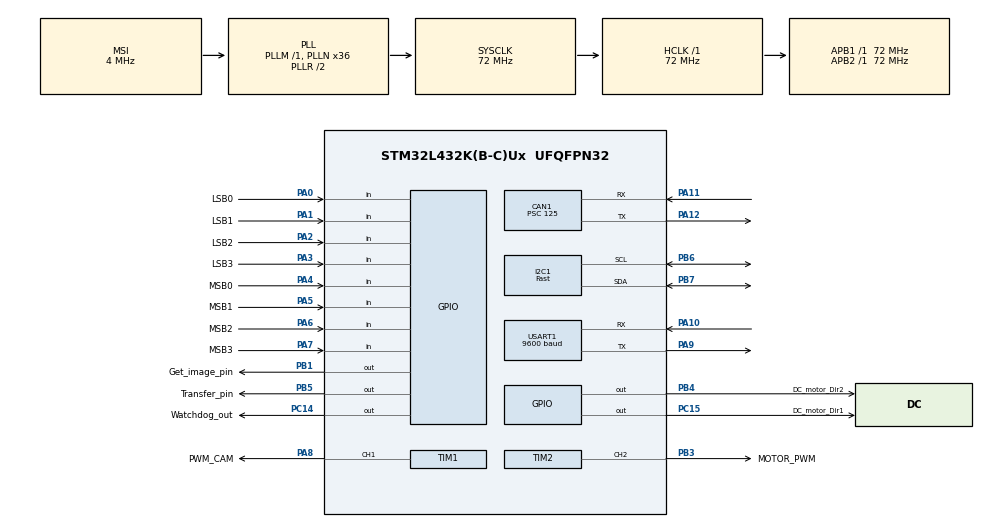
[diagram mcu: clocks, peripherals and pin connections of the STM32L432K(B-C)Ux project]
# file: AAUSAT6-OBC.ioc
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Mcu.Family=STM32L4
CAN1.NART=ENABLE
TIM15.AutoReloadPreload=TIM_AUTORELOAD_PRELOAD_ENABLE
RCC.CortexFreq_Value=72000000
NVIC.DMA1_Channel5_IRQn=true\:5\:0\:true\:false\:true\:true\:false\:true
I2C1.I2C_Speed_Mode=I2C_Fast
NVIC.TIM6_DAC_IRQn=true\:5\:0\:true\:false\:true\:true\:true\:true
USART1.BaudRate=9600
PA0.GPIO_Label=LSB0
PA11.Mode=CAN_Activate
PA6.GPIO_Label=MSB2
FREERTOS.configTICK_RATE_HZ=909
TIM1.Pulse-PWM\ Generation1\ CH1=3000
TIM2.Channel-PWM\ Generation2\ CH2=TIM_CHANNEL_2
Dma.TIM1_CH3.1.PeriphDataAlignment=DMA_PDATAALIGN_BYTE
RCC.SYSCLKSource=RCC_SYSCLKSOURCE_PLLCLK
ProjectManager.StackSize=0x400
PB3\ (JTDO-TRACESWO).Signal=S_TIM2_CH2
VP_FREERTOS_VS_CMSIS_V2.Mode=CMSIS_V2
PA14\ (JTCK-SWCLK).Signal=SYS_JTCK-SWCLK
Dma.TIM1_CH3.1.Instance=DMA1_Channel7
PA12.Signal=CAN1_TX
TIM1.Prescaler=1-1
TIM15.Prescaler=72
NVIC.CAN1_TX_IRQn=true\:5\:0\:true\:false\:true\:true\:true\:true
PB1.GPIO_PuPd=GPIO_PULLDOWN
RCC.HCLKFreq_Value=72000000
RCC.APB2TimFreq_Value=72000000
PB6.Signal=I2C1_SCL
Dma.TIM1_CH3.1.Mode=DMA_NORMAL
PB6.Mode=I2C
RCC.AHBFreq_Value=72000000
Dma.USART1_RX.0.Priority=DMA_PRIORITY_LOW
FREERTOS.configUSE_PREEMPTION=1
RCC.HSE_VALUE=8000000
RCC.PLLMUL=RCC_PLLMUL_4
TIM1.Channel-PWM\ Generation1\ CH1=TIM_CHANNEL_1
PB1.GPIO_Label=Get_image_pin
PB7.Signal=I2C1_SDA
PA8.Signal=S_TIM1_CH1
TIM15.Channel-Output\ Compare1\ No\ Output=TIM_CHANNEL_1
TIM6.Period=7200-1
Dma.USART1_RX.0.MemInc=DMA_MINC_ENABLE
VP_TIM1_VS_ClockSourceINT.Mode=Internal
FREERTOS.configTOTAL_HEAP_SIZE=20000
PA0.Signal=GPIO_Input
CAN1.Prescaler=125
Mcu.Package=UFQFPN32
TIM2.Prescaler=72-1
PB1.Signal=GPIO_Output
PA6.Signal=GPIO_Input
NVIC.TimeBase=TIM7_IRQn
PA2.GPIO_Label=LSB2
NVIC.TimeBaseIP=TIM7
PA10.Signal=USART1_RX
PB5.GPIO_Label=Transfer_pin
Dma.Request1=TIM1_CH3
RCC.APB1TimFreq_Value=72000000
FREERTOS.configGENERATE_RUN_TIME_STATS=0
Dma.USART1_RX.0.Mode=DMA_CIRCULAR
Dma.TIM1_CH3.1.MemInc=DMA_MINC_ENABLE
TIM1.Period=6000-1
PA13\ (JTMS-SWDIO).Signal=SYS_JTMS-SWDIO
Dma.Request0=USART1_RX
CAN1.CalculateTimeBit=26041.66
PA4.GPIO_Label=MSB0
Dma.USART1_RX.0.Instance=DMA1_Channel5
Dma.TIM1_CH3.1.PeriphInc=DMA_PINC_DISABLE
NVIC.TIM7_IRQn=true\:0\:0\:false\:false\:true\:false\:false\:true
RCC.HSI48_VALUE=48000000
PA3.Signal=GPIO_Input
CAN1.CalculateTimeQuantum=1736.111111111111
RCC.MSI_VALUE=4000000
PA14\ (JTCK-SWCLK).Mode=Serial_Wire
PC15-OSC32_OUT\ (PC15).GPIO_Label=DC_motor_Dir1
FREERTOS.Tasks01=taskGPS,52,256,task_gps,Default,NULL,Dynamic,NULL,NULL;taskDCMotor,53,256,task_dcmotor,Default,NULL,Dynamic,NULL,NULL;taskMPU6050,53,512,task_mpu6050,Default,NULL,Dynamic,NULL,NULL;taskParTCL_Exec,50,1024,task_partcl_Exec,Default,NULL,Dynamic,NULL,NULL;taskImage,51,512,task_image,Default,NULL,Dynamic,NULL,NULL;taskParTCL_Hand,52,512,task_partcl_hand,Default,NULL,Dynamic,NULL,NULL
Dma.USART1_RX.0.PeriphDataAlignment=DMA_PDATAALIGN_BYTE
CAN1.TXFP=ENABLE
PA10.Mode=Asynchronous
VP_SYS_VS_tim7.Mode=TIM7
TIM1.Channel-Output\ Compare2\ No\ Output=TIM_CHANNEL_2
CAN1.CalculateBaudRate=38400
TIM6.Prescaler=20000-1
VP_TIM6_VS_ClockSourceINT.Mode=Enable_Timer
PC15-OSC32_OUT\ (PC15).Signal=GPIO_Output
PB3\ (JTDO-TRACESWO).GPIO_Label=MOTOR_PWM
PC14-OSC32_IN\ (PC14).GPIO_Label=Watchdog_out
USART1.VirtualMode-Asynchronous=VM_ASYNC
RCC.HSI16_VALUE=16000000
TIM6.AutoReloadPreload=TIM_AUTORELOAD_PRELOAD_ENABLE
SH.S_TIM2_CH2.0=TIM2_CH2,PWM Generation2 CH2
PA9.Mode=Asynchronous
PA8.GPIO_Label=PWM_CAM
SH.S_TIM1_CH1.0=TIM1_CH1,PWM Generation1 CH1
CAN1.BS2=CAN_BS2_2TQ
CAN1.BS1=CAN_BS1_12TQ
ProjectManager.TargetToolchain=STM32CubeIDE
Dma.USART1_RX.0.Direction=DMA_PERIPH_TO_MEMORY
PA9.Signal=USART1_TX
I2C1.Timing=0x00702681
RCC.LSE_VALUE=32768
PA1.Signal=GPIO_Input
Dma.USART1_RX.0.PeriphInc=DMA_PINC_DISABLE
PA5.Signal=GPIO_Input
TIM1.Channel-Output\ Compare3\ No\ Output=TIM_CHANNEL_3
NVIC.TIM1_BRK_TIM15_IRQn=true\:5\:0\:true\:false\:true\:true\:true\:true
board=NUCLEO-L432KC
RCC.VCOOutputFreq_Value=144000000
RCC.APB2Freq_Value=72000000
USART1.Mode=MODE_RX
VP_TIM1_VS_no_output3.Mode=Output Compare3 No Output
PA1.GPIO_Label=LSB1
Dma.USART1_RX.0.MemDataAlignment=DMA_MDATAALIGN_BYTE
Dma.TIM1_CH3.1.Priority=DMA_PRIORITY_LOW
TIM2.Period=10000-1
VP_TIM1_VS_no_output2.Mode=Output Compare2 No Output
Mcu.Name=STM32L432K(B-C)Ux
TIM1.OCMode_PWM-PWM\ Generation1\ CH1=TIM_OCMODE_PWM2
PA2.Signal=GPIO_Input
PA13\ (JTMS-SWDIO).Mode=Serial_Wire
PA4.Signal=GPIO_Input
RCC.SYSCLKFreq_VALUE=72000000
PB5.Signal=GPIO_Output
PA7.GPIO_Label=MSB3
PA12.Mode=CAN_Activate
PA5.GPIO_Label=MSB1
PC14-OSC32_IN\ (PC14).Signal=GPIO_Output
PB5.GPIO_PuPd=GPIO_PULLDOWN
PA11.Signal=CAN1_RX
PB7.Mode=I2C
VP_TIM15_VS_no_output1.Mode=Output Compare1 No Output
VP_TIM15_VS_ClockSourceINT.Mode=Internal
ProjectManager.HeapSize=0x200
RCC.HSI_VALUE=16000000
PA8.GPIO_PuPd=GPIO_PULLDOWN
NVIC.PriorityGroup=NVIC_PRIORITYGROUP_4
RCC.PLLN=36
Dma.TIM1_CH3.1.MemDataAlignment=DMA_MDATAALIGN_BYTE
NVIC.DMA1_Channel7_IRQn=true\:5\:0\:true\:false\:true\:true\:false\:true
PB4\ (NJTRST).GPIO_Label=DC_motor_Dir2
RCC.APB1Freq_Value=72000000
Dma.TIM1_CH3.1.Direction=DMA_PERIPH_TO_MEMORY
NVIC.CAN1_RX0_IRQn=true\:5\:0\:true\:false\:true\:true\:true\:true
PA3.GPIO_Label=LSB3
PA7.Signal=GPIO_Input
PB4\ (NJTRST).Signal=GPIO_Output

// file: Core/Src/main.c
/* USER CODE BEGIN Header */
/**
 ******************************************************************************
 * @file           : main.c
 * @brief          : Main program body
 ******************************************************************************
 * @attention
 *
 * <h2><center>&copy; Copyright (c) 2021 STMicroelectronics.
 * All rights reserved.</center></h2>
 *
 * This software component is licensed by ST under BSD 3-Clause license,
 * the "License"; You may not use this file except in compliance with the
 * License. You may obtain a copy of the License at:
 *                        opensource.org/licenses/BSD-3-Clause
 *
 ******************************************************************************
 */
/* USER CODE END Header */
#include "main.h"
#include "cmsis_os.h"

/* USER CODE BEGIN Includes */

#include "gpsdriver.h"
#include "DCMotorDriver.h"
#include "mpu6050_driver.h"
#include "Transmit_driver.h"
#include "partcl_driver.h"
#include "circle_queue.h"
#include "circle_queue_struct.h"
#include "can_driver.h"
#include "stdbool.h"
#include "image_driver.h"

/* USER CODE END Includes */

/* USER CODE BEGIN PD */
#define PACKAGE_SIZE 8
#define XPERIOD 3
#define CAN_ID_NRST 161
/* USER CODE END PD */

CAN_HandleTypeDef hcan1;

I2C_HandleTypeDef hi2c1;

TIM_HandleTypeDef htim1;
TIM_HandleTypeDef htim2;
TIM_HandleTypeDef htim6;
TIM_HandleTypeDef htim15;
DMA_HandleTypeDef hdma_tim1_ch3;

UART_HandleTypeDef huart1;
DMA_HandleTypeDef hdma_usart1_rx;

/* Definitions for taskGPS */
osThreadId_t taskGPSHandle;
const osThreadAttr_t taskGPS_attributes = {
  .name = "taskGPS",
  .stack_size = 256 * 4,
  .priority = (osPriority_t) osPriorityRealtime4,
};
/* Definitions for taskDCMotor */
osThreadId_t taskDCMotorHandle;
const osThreadAttr_t taskDCMotor_attributes = {
  .name = "taskDCMotor",
  .stack_size = 256 * 4,
  .priority = (osPriority_t) osPriorityRealtime5,
};
/* Definitions for taskMPU6050 */
osThreadId_t taskMPU6050Handle;
const osThreadAttr_t taskMPU6050_attributes = {
  .name = "taskMPU6050",
  .stack_size = 512 * 4,
  .priority = (osPriority_t) osPriorityRealtime5,
};
/* Definitions for taskParTCL_Exec */
osThreadId_t taskParTCL_ExecHandle;
const osThreadAttr_t taskParTCL_Exec_attributes = {
  .name = "taskParTCL_Exec",
  .stack_size = 1024 * 4,
  .priority = (osPriority_t) osPriorityRealtime2,
};
/* Definitions for taskImage */
osThreadId_t taskImageHandle;
const osThreadAttr_t taskImage_attributes = {
  .name = "taskImage",
  .stack_size = 512 * 4,
  .priority = (osPriority_t) osPriorityRealtime3,
};
/* Definitions for taskParTCL_Hand */
osThreadId_t taskParTCL_HandHandle;
const osThreadAttr_t taskParTCL_Hand_attributes = {
  .name = "taskParTCL_Hand",
  .stack_size = 512 * 4,
  .priority = (osPriority_t) osPriorityRealtime4,
};
/* USER CODE BEGIN PV */

CAN_TxHeaderTypeDef CanTxHeader;
CAN_RxHeaderTypeDef CanRxHeader;
CAN_FilterTypeDef CanFilter;
CAM_HandleTypeDef hcam;
uint32_t timerCounter = 0;

/* USER CODE END PV */

void SystemClock_Config(void);
static void MX_GPIO_Init(void);
static void MX_DMA_Init(void);
static void MX_USART1_UART_Init(void);
static void MX_CAN1_Init(void);
static void MX_I2C1_Init(void);
static void MX_TIM2_Init(void);
static void MX_TIM1_Init(void);
static void MX_TIM6_Init(void);
static void MX_TIM15_Init(void);
void task_gps(void *argument);
void task_dcmotor(void *argument);
void task_mpu6050(void *argument);
void task_partcl_Exec(void *argument);
void task_image(void *argument);
void task_partcl_hand(void *argument);

int main(void)
{

  /* MCU Configuration--------------------------------------------------------*/

  /* Reset of all peripherals, Initializes the Flash interface and the Systick. */
  HAL_Init();

  /* Configure the system clock */
  SystemClock_Config();

  /* Initialize all configured peripherals */
  MX_GPIO_Init();
  MX_DMA_Init();
  MX_USART1_UART_Init();
  MX_CAN1_Init();
  MX_I2C1_Init();
  MX_TIM2_Init();
  MX_TIM1_Init();
  MX_TIM6_Init();
  MX_TIM15_Init();
  /* USER CODE BEGIN 2 */

	can_init(&hcan1, &CanRxHeader, &CanTxHeader);
	transmit_driver_init();

	HAL_TIM_Base_Start_IT(&htim15);
	HAL_TIM_Base_Start_IT(&htim6);

	motor_init(&htim2, TIM_CHANNEL_2);
	//motor_start(40);
	//motor_direction(1);

	CAM_Handle_Init(&hcam, &hdma_tim1_ch3, &htim1, &hi2c1);
	CAM_init(&hcam);

	MPU_Init(&hi2c1);

	//OBC has restarted message.
	struct CAN_QUEUE_DATA resetMessage = { CAN_ID_NRST, { "OBC NRST" } };
	passToCanTX(&resetMessage);

  /* USER CODE END 2 */

  /* Init scheduler */
  osKernelInitialize();

  /* Create the thread(s) */
  /* creation of taskGPS */
  taskGPSHandle = osThreadNew(task_gps, NULL, &taskGPS_attributes);

  /* creation of taskDCMotor */
  taskDCMotorHandle = osThreadNew(task_dcmotor, NULL, &taskDCMotor_attributes);

  /* creation of taskMPU6050 */
  taskMPU6050Handle = osThreadNew(task_mpu6050, NULL, &taskMPU6050_attributes);

  /* creation of taskParTCL_Exec */
  taskParTCL_ExecHandle = osThreadNew(task_partcl_Exec, NULL, &taskParTCL_Exec_attributes);

  /* creation of taskImage */
  taskImageHandle = osThreadNew(task_image, NULL, &taskImage_attributes);

  /* creation of taskParTCL_Hand */
  taskParTCL_HandHandle = osThreadNew(task_partcl_hand, NULL, &taskParTCL_Hand_attributes);

  /* Start scheduler */
  osKernelStart();

  /* We should never get here as control is now taken by the scheduler */
  /* Infinite loop */
	while (1) {

	}
}

void SystemClock_Config(void)
{
  RCC_OscInitTypeDef RCC_OscInitStruct = {0};
  RCC_ClkInitTypeDef RCC_ClkInitStruct = {0};
  RCC_PeriphCLKInitTypeDef PeriphClkInit = {0};

  /** Initializes the RCC Oscillators according to the specified parameters
  * in the RCC_OscInitTypeDef structure.
  */
  RCC_OscInitStruct.OscillatorType = RCC_OSCILLATORTYPE_MSI;
  RCC_OscInitStruct.MSIState = RCC_MSI_ON;
  RCC_OscInitStruct.MSICalibrationValue = 0;
  RCC_OscInitStruct.MSIClockRange = RCC_MSIRANGE_6;
  RCC_OscInitStruct.PLL.PLLState = RCC_PLL_ON;
  RCC_OscInitStruct.PLL.PLLSource = RCC_PLLSOURCE_MSI;
  RCC_OscInitStruct.PLL.PLLM = 1;
  RCC_OscInitStruct.PLL.PLLN = 36;
  RCC_OscInitStruct.PLL.PLLP = RCC_PLLP_DIV7;
  RCC_OscInitStruct.PLL.PLLQ = RCC_PLLQ_DIV2;
  RCC_OscInitStruct.PLL.PLLR = RCC_PLLR_DIV2;
  if (HAL_RCC_OscConfig(&RCC_OscInitStruct) != HAL_OK)
  {
    Error_Handler();
  }
  /** Initializes the CPU, AHB and APB buses clocks
  */
  RCC_ClkInitStruct.ClockType = RCC_CLOCKTYPE_HCLK|RCC_CLOCKTYPE_SYSCLK
                              |RCC_CLOCKTYPE_PCLK1|RCC_CLOCKTYPE_PCLK2;
  RCC_ClkInitStruct.SYSCLKSource = RCC_SYSCLKSOURCE_PLLCLK;
  RCC_ClkInitStruct.AHBCLKDivider = RCC_SYSCLK_DIV1;
  RCC_ClkInitStruct.APB1CLKDivider = RCC_HCLK_DIV1;
  RCC_ClkInitStruct.APB2CLKDivider = RCC_HCLK_DIV1;

  if (HAL_RCC_ClockConfig(&RCC_ClkInitStruct, FLASH_LATENCY_4) != HAL_OK)
  {
    Error_Handler();
  }
  PeriphClkInit.PeriphClockSelection = RCC_PERIPHCLK_USART1|RCC_PERIPHCLK_I2C1;
  PeriphClkInit.Usart1ClockSelection = RCC_USART1CLKSOURCE_PCLK2;
  PeriphClkInit.I2c1ClockSelection = RCC_I2C1CLKSOURCE_PCLK1;
  if (HAL_RCCEx_PeriphCLKConfig(&PeriphClkInit) != HAL_OK)
  {
    Error_Handler();
  }
  /** Configure the main internal regulator output voltage
  */
  if (HAL_PWREx_ControlVoltageScaling(PWR_REGULATOR_VOLTAGE_SCALE1) != HAL_OK)
  {
    Error_Handler();
  }
}

static void MX_CAN1_Init(void)
{

  /* USER CODE BEGIN CAN1_Init 0 */
	uint32_t ext_id = 0x00000000;  // Den største værdi der kan være på MSB er 1
	uint32_t mask = 0x0;
	CanFilter.FilterMode = CAN_FILTERMODE_IDMASK; // Vi vælger at bruge mask mode
	CanFilter.FilterIdHigh = (ext_id & 0x1FFFFFFF) >> 13; // (ext_id << 3) >> 16;                        // Da vi har 32 bit ID, er dette de 16 MSB af ID
	CanFilter.FilterIdLow = (ext_id << 3) | CAN_ID_EXT; // Da vi har 32 bit ID, er dette de 16 LSB af ID
	CanFilter.FilterMaskIdHigh = (mask & 0x1FFFFFFF) >> 13; // << 5;                    // Maskens 16 MSB
	CanFilter.FilterMaskIdLow = (mask << 3); // << 5 | 0x10;                    // Maskens 16 LSB
	CanFilter.FilterScale = CAN_FILTERSCALE_32BIT;        // ID er et 32 bit-tal
	CanFilter.FilterActivation = ENABLE;                // Vi aktiverer filteret
	CanFilter.FilterBank = 0;       // Vi vælger filter 0 ud af 14 mulige filtre
	CanFilter.FilterFIFOAssignment = CAN_FILTER_FIFO0; // Vi vælger FIFO0 til forskel for FIFO1

	CanTxHeader.DLC = PACKAGE_SIZE;     // Der kommer 8 byte som data i beskeden
	CanTxHeader.ExtId = 0x00000000;              // 32 bit ID (29 er identifier)
	CanTxHeader.IDE = CAN_ID_EXT; // Vi har et extended ID = 32 bit til forskel fra standard på 16 bit (11 er identifier)
	CanTxHeader.RTR = CAN_RTR_DATA;                        // Vi sender data
	CanTxHeader.TransmitGlobalTime = DISABLE; // Der skal IKKE sendes et timestamp med hver besked

	CanRxHeader.DLC = PACKAGE_SIZE;
	CanRxHeader.ExtId = 0x0;
	CanRxHeader.IDE = CAN_ID_EXT;
	CanRxHeader.RTR = CAN_RTR_DATA;
	CanRxHeader.FilterMatchIndex = 0x00;

  /* USER CODE END CAN1_Init 0 */

  /* USER CODE BEGIN CAN1_Init 1 */
	__HAL_RCC_CAN1_CLK_ENABLE();

  /* USER CODE END CAN1_Init 1 */
  hcan1.Instance = CAN1;
  hcan1.Init.Prescaler = 125;
  hcan1.Init.Mode = CAN_MODE_NORMAL;
  hcan1.Init.SyncJumpWidth = CAN_SJW_1TQ;
  hcan1.Init.TimeSeg1 = CAN_BS1_12TQ;
  hcan1.Init.TimeSeg2 = CAN_BS2_2TQ;
  hcan1.Init.TimeTriggeredMode = DISABLE;
  hcan1.Init.AutoBusOff = DISABLE;
  hcan1.Init.AutoWakeUp = DISABLE;
  hcan1.Init.AutoRetransmission = ENABLE;
  hcan1.Init.ReceiveFifoLocked = DISABLE;
  hcan1.Init.TransmitFifoPriority = ENABLE;
  if (HAL_CAN_Init(&hcan1) != HAL_OK)
  {
    Error_Handler();
  }
  /* USER CODE BEGIN CAN1_Init 2 */
	while (HAL_CAN_ConfigFilter(&hcan1, &CanFilter) != HAL_OK) {
	}

	/*##-3- Start the CAN peripheral ###########################################*/
	if (HAL_CAN_Start(&hcan1) != HAL_OK) {
		/* Start Error */
		Error_Handler();
	}

	/*##-4- Activate CAN RX notification #######################################*/
	if (HAL_CAN_ActivateNotification(&hcan1, CAN_IT_RX_FIFO0_MSG_PENDING)
			!= HAL_OK) {
		/* Notification Error */
		Error_Handler();
	}
	if (HAL_CAN_ActivateNotification(&hcan1, CAN_IT_TX_MAILBOX_EMPTY)
			!= HAL_OK) {
		/* Notification Error */
		Error_Handler();
	}

	/*##-5- Activate CAN BUSOFF notification ###################################*/
	if (HAL_CAN_ActivateNotification(&hcan1, CAN_IT_BUSOFF) != HAL_OK) {
		/* Notification Error */
		Error_Handler();
	}

	/*
	 while (HAL_CAN_ConfigFilter(&hcan1, &CanFilter) != HAL_OK) {}
	 HAL_CAN_ActivateNotification(&hcan1, CAN_IT_RX_FIFO0_MSG_PENDING);
	 HAL_CAN_Start(&hcan1);
	 */
  /* USER CODE END CAN1_Init 2 */

}

static void MX_I2C1_Init(void)
{

  hi2c1.Instance = I2C1;
  hi2c1.Init.Timing = 0x00702681;
  hi2c1.Init.OwnAddress1 = 0;
  hi2c1.Init.AddressingMode = I2C_ADDRESSINGMODE_7BIT;
  hi2c1.Init.DualAddressMode = I2C_DUALADDRESS_DISABLE;
  hi2c1.Init.OwnAddress2 = 0;
  hi2c1.Init.OwnAddress2Masks = I2C_OA2_NOMASK;
  hi2c1.Init.GeneralCallMode = I2C_GENERALCALL_DISABLE;
  hi2c1.Init.NoStretchMode = I2C_NOSTRETCH_DISABLE;
  if (HAL_I2C_Init(&hi2c1) != HAL_OK)
  {
    Error_Handler();
  }
  /** Configure Analogue filter
  */
  if (HAL_I2CEx_ConfigAnalogFilter(&hi2c1, I2C_ANALOGFILTER_ENABLE) != HAL_OK)
  {
    Error_Handler();
  }
  /** Configure Digital filter
  */
  if (HAL_I2CEx_ConfigDigitalFilter(&hi2c1, 0) != HAL_OK)
  {
    Error_Handler();
  }

}

static void MX_TIM1_Init(void)
{

  TIM_ClockConfigTypeDef sClockSourceConfig = {0};
  TIM_MasterConfigTypeDef sMasterConfig = {0};
  TIM_OC_InitTypeDef sConfigOC = {0};
  TIM_BreakDeadTimeConfigTypeDef sBreakDeadTimeConfig = {0};

  htim1.Instance = TIM1;
  htim1.Init.Prescaler = 1-1;
  htim1.Init.CounterMode = TIM_COUNTERMODE_UP;
  htim1.Init.Period = 6000-1;
  htim1.Init.ClockDivision = TIM_CLOCKDIVISION_DIV1;
  htim1.Init.RepetitionCounter = 0;
  htim1.Init.AutoReloadPreload = TIM_AUTORELOAD_PRELOAD_DISABLE;
  if (HAL_TIM_Base_Init(&htim1) != HAL_OK)
  {
    Error_Handler();
  }
  sClockSourceConfig.ClockSource = TIM_CLOCKSOURCE_INTERNAL;
  if (HAL_TIM_ConfigClockSource(&htim1, &sClockSourceConfig) != HAL_OK)
  {
    Error_Handler();
  }
  if (HAL_TIM_PWM_Init(&htim1) != HAL_OK)
  {
    Error_Handler();
  }
  if (HAL_TIM_OC_Init(&htim1) != HAL_OK)
  {
    Error_Handler();
  }
  sMasterConfig.MasterOutputTrigger = TIM_TRGO_RESET;
  sMasterConfig.MasterOutputTrigger2 = TIM_TRGO2_RESET;
  sMasterConfig.MasterSlaveMode = TIM_MASTERSLAVEMODE_DISABLE;
  if (HAL_TIMEx_MasterConfigSynchronization(&htim1, &sMasterConfig) != HAL_OK)
  {
    Error_Handler();
  }
  sConfigOC.OCMode = TIM_OCMODE_PWM2;
  sConfigOC.Pulse = 3000;
  sConfigOC.OCPolarity = TIM_OCPOLARITY_HIGH;
  sConfigOC.OCNPolarity = TIM_OCNPOLARITY_HIGH;
  sConfigOC.OCFastMode = TIM_OCFAST_DISABLE;
  sConfigOC.OCIdleState = TIM_OCIDLESTATE_RESET;
  sConfigOC.OCNIdleState = TIM_OCNIDLESTATE_RESET;
  if (HAL_TIM_PWM_ConfigChannel(&htim1, &sConfigOC, TIM_CHANNEL_1) != HAL_OK)
  {
    Error_Handler();
  }
  sConfigOC.OCMode = TIM_OCMODE_TIMING;
  sConfigOC.Pulse = 0;
  if (HAL_TIM_OC_ConfigChannel(&htim1, &sConfigOC, TIM_CHANNEL_2) != HAL_OK)
  {
    Error_Handler();
  }
  if (HAL_TIM_OC_ConfigChannel(&htim1, &sConfigOC, TIM_CHANNEL_3) != HAL_OK)
  {
    Error_Handler();
  }
  sBreakDeadTimeConfig.OffStateRunMode = TIM_OSSR_DISABLE;
  sBreakDeadTimeConfig.OffStateIDLEMode = TIM_OSSI_DISABLE;
  sBreakDeadTimeConfig.LockLevel = TIM_LOCKLEVEL_OFF;
  sBreakDeadTimeConfig.DeadTime = 0;
  sBreakDeadTimeConfig.BreakState = TIM_BREAK_DISABLE;
  sBreakDeadTimeConfig.BreakPolarity = TIM_BREAKPOLARITY_HIGH;
  sBreakDeadTimeConfig.BreakFilter = 0;
  sBreakDeadTimeConfig.Break2State = TIM_BREAK2_DISABLE;
  sBreakDeadTimeConfig.Break2Polarity = TIM_BREAK2POLARITY_HIGH;
  sBreakDeadTimeConfig.Break2Filter = 0;
  sBreakDeadTimeConfig.AutomaticOutput = TIM_AUTOMATICOUTPUT_DISABLE;
  if (HAL_TIMEx_ConfigBreakDeadTime(&htim1, &sBreakDeadTimeConfig) != HAL_OK)
  {
    Error_Handler();
  }
  HAL_TIM_MspPostInit(&htim1);

}

static void MX_TIM2_Init(void)
{

  TIM_MasterConfigTypeDef sMasterConfig = {0};
  TIM_OC_InitTypeDef sConfigOC = {0};

  htim2.Instance = TIM2;
  htim2.Init.Prescaler = 72-1;
  htim2.Init.CounterMode = TIM_COUNTERMODE_UP;
  htim2.Init.Period = 10000-1;
  htim2.Init.ClockDivision = TIM_CLOCKDIVISION_DIV1;
  htim2.Init.AutoReloadPreload = TIM_AUTORELOAD_PRELOAD_DISABLE;
  if (HAL_TIM_PWM_Init(&htim2) != HAL_OK)
  {
    Error_Handler();
  }
  sMasterConfig.MasterOutputTrigger = TIM_TRGO_RESET;
  sMasterConfig.MasterSlaveMode = TIM_MASTERSLAVEMODE_DISABLE;
  if (HAL_TIMEx_MasterConfigSynchronization(&htim2, &sMasterConfig) != HAL_OK)
  {
    Error_Handler();
  }
  sConfigOC.OCMode = TIM_OCMODE_PWM1;
  sConfigOC.Pulse = 0;
  sConfigOC.OCPolarity = TIM_OCPOLARITY_HIGH;
  sConfigOC.OCFastMode = TIM_OCFAST_DISABLE;
  if (HAL_TIM_PWM_ConfigChannel(&htim2, &sConfigOC, TIM_CHANNEL_2) != HAL_OK)
  {
    Error_Handler();
  }
  HAL_TIM_MspPostInit(&htim2);

}

static void MX_TIM6_Init(void)
{

  TIM_MasterConfigTypeDef sMasterConfig = {0};

  htim6.Instance = TIM6;
  htim6.Init.Prescaler = 20000-1;
  htim6.Init.CounterMode = TIM_COUNTERMODE_UP;
  htim6.Init.Period = 7200-1;
  htim6.Init.AutoReloadPreload = TIM_AUTORELOAD_PRELOAD_ENABLE;
  if (HAL_TIM_Base_Init(&htim6) != HAL_OK)
  {
    Error_Handler();
  }
  sMasterConfig.MasterOutputTrigger = TIM_TRGO_RESET;
  sMasterConfig.MasterSlaveMode = TIM_MASTERSLAVEMODE_DISABLE;
  if (HAL_TIMEx_MasterConfigSynchronization(&htim6, &sMasterConfig) != HAL_OK)
  {
    Error_Handler();
  }

}

static void MX_TIM15_Init(void)
{

  TIM_ClockConfigTypeDef sClockSourceConfig = {0};
  TIM_MasterConfigTypeDef sMasterConfig = {0};
  TIM_OC_InitTypeDef sConfigOC = {0};
  TIM_BreakDeadTimeConfigTypeDef sBreakDeadTimeConfig = {0};

  htim15.Instance = TIM15;
  htim15.Init.Prescaler = 72;
  htim15.Init.CounterMode = TIM_COUNTERMODE_UP;
  htim15.Init.Period = 65535;
  htim15.Init.ClockDivision = TIM_CLOCKDIVISION_DIV1;
  htim15.Init.RepetitionCounter = 0;
  htim15.Init.AutoReloadPreload = TIM_AUTORELOAD_PRELOAD_ENABLE;
  if (HAL_TIM_Base_Init(&htim15) != HAL_OK)
  {
    Error_Handler();
  }
  sClockSourceConfig.ClockSource = TIM_CLOCKSOURCE_INTERNAL;
  if (HAL_TIM_ConfigClockSource(&htim15, &sClockSourceConfig) != HAL_OK)
  {
    Error_Handler();
  }
  if (HAL_TIM_OC_Init(&htim15) != HAL_OK)
  {
    Error_Handler();
  }
  sMasterConfig.MasterOutputTrigger = TIM_TRGO_RESET;
  sMasterConfig.MasterSlaveMode = TIM_MASTERSLAVEMODE_DISABLE;
  if (HAL_TIMEx_MasterConfigSynchronization(&htim15, &sMasterConfig) != HAL_OK)
  {
    Error_Handler();
  }
  sConfigOC.OCMode = TIM_OCMODE_TIMING;
  sConfigOC.Pulse = 0;
  sConfigOC.OCPolarity = TIM_OCPOLARITY_HIGH;
  sConfigOC.OCNPolarity = TIM_OCNPOLARITY_HIGH;
  sConfigOC.OCFastMode = TIM_OCFAST_DISABLE;
  sConfigOC.OCIdleState = TIM_OCIDLESTATE_RESET;
  sConfigOC.OCNIdleState = TIM_OCNIDLESTATE_RESET;
  if (HAL_TIM_OC_ConfigChannel(&htim15, &sConfigOC, TIM_CHANNEL_1) != HAL_OK)
  {
    Error_Handler();
  }
  sBreakDeadTimeConfig.OffStateRunMode = TIM_OSSR_DISABLE;
  sBreakDeadTimeConfig.OffStateIDLEMode = TIM_OSSI_DISABLE;
  sBreakDeadTimeConfig.LockLevel = TIM_LOCKLEVEL_OFF;
  sBreakDeadTimeConfig.DeadTime = 0;
  sBreakDeadTimeConfig.BreakState = TIM_BREAK_DISABLE;
  sBreakDeadTimeConfig.BreakPolarity = TIM_BREAKPOLARITY_HIGH;
  sBreakDeadTimeConfig.AutomaticOutput = TIM_AUTOMATICOUTPUT_DISABLE;
  if (HAL_TIMEx_ConfigBreakDeadTime(&htim15, &sBreakDeadTimeConfig) != HAL_OK)
  {
    Error_Handler();
  }

}

static void MX_USART1_UART_Init(void)
{

  huart1.Instance = USART1;
  huart1.Init.BaudRate = 9600;
  huart1.Init.WordLength = UART_WORDLENGTH_8B;
  huart1.Init.StopBits = UART_STOPBITS_1;
  huart1.Init.Parity = UART_PARITY_NONE;
  huart1.Init.Mode = UART_MODE_RX;
  huart1.Init.HwFlowCtl = UART_HWCONTROL_NONE;
  huart1.Init.OverSampling = UART_OVERSAMPLING_16;
  huart1.Init.OneBitSampling = UART_ONE_BIT_SAMPLE_DISABLE;
  huart1.AdvancedInit.AdvFeatureInit = UART_ADVFEATURE_NO_INIT;
  if (HAL_UART_Init(&huart1) != HAL_OK)
  {
    Error_Handler();
  }

}

static void MX_DMA_Init(void)
{

  /* DMA controller clock enable */
  __HAL_RCC_DMA1_CLK_ENABLE();

  /* DMA interrupt init */
  /* DMA1_Channel5_IRQn interrupt configuration */
  HAL_NVIC_SetPriority(DMA1_Channel5_IRQn, 5, 0);
  HAL_NVIC_EnableIRQ(DMA1_Channel5_IRQn);
  /* DMA1_Channel7_IRQn interrupt configuration */
  HAL_NVIC_SetPriority(DMA1_Channel7_IRQn, 5, 0);
  HAL_NVIC_EnableIRQ(DMA1_Channel7_IRQn);

}

static void MX_GPIO_Init(void)
{
  GPIO_InitTypeDef GPIO_InitStruct = {0};

  /* GPIO Ports Clock Enable */
  __HAL_RCC_GPIOC_CLK_ENABLE();
  __HAL_RCC_GPIOA_CLK_ENABLE();
  __HAL_RCC_GPIOB_CLK_ENABLE();

  /*Configure GPIO pin Output Level */
  HAL_GPIO_WritePin(GPIOC, Watchdog_out_Pin|DC_motor_Dir1_Pin, GPIO_PIN_RESET);

  /*Configure GPIO pin Output Level */
  HAL_GPIO_WritePin(GPIOB, Get_image_pin_Pin|DC_motor_Dir2_Pin|Transfer_pin_Pin, GPIO_PIN_RESET);

  /*Configure GPIO pins : Watchdog_out_Pin DC_motor_Dir1_Pin */
  GPIO_InitStruct.Pin = Watchdog_out_Pin|DC_motor_Dir1_Pin;
  GPIO_InitStruct.Mode = GPIO_MODE_OUTPUT_PP;
  GPIO_InitStruct.Pull = GPIO_NOPULL;
  GPIO_InitStruct.Speed = GPIO_SPEED_FREQ_LOW;
  HAL_GPIO_Init(GPIOC, &GPIO_InitStruct);

  /*Configure GPIO pins : LSB0_Pin LSB1_Pin LSB2_Pin LSB3_Pin
                           MSB0_Pin MSB1_Pin MSB2_Pin MSB3_Pin */
  GPIO_InitStruct.Pin = LSB0_Pin|LSB1_Pin|LSB2_Pin|LSB3_Pin
                          |MSB0_Pin|MSB1_Pin|MSB2_Pin|MSB3_Pin;
  GPIO_InitStruct.Mode = GPIO_MODE_INPUT;
  GPIO_InitStruct.Pull = GPIO_NOPULL;
  HAL_GPIO_Init(GPIOA, &GPIO_InitStruct);

  /*Configure GPIO pins : Get_image_pin_Pin Transfer_pin_Pin */
  GPIO_InitStruct.Pin = Get_image_pin_Pin|Transfer_pin_Pin;
  GPIO_InitStruct.Mode = GPIO_MODE_OUTPUT_PP;
  GPIO_InitStruct.Pull = GPIO_PULLDOWN;
  GPIO_InitStruct.Speed = GPIO_SPEED_FREQ_LOW;
  HAL_GPIO_Init(GPIOB, &GPIO_InitStruct);

  /*Configure GPIO pin : DC_motor_Dir2_Pin */
  GPIO_InitStruct.Pin = DC_motor_Dir2_Pin;
  GPIO_InitStruct.Mode = GPIO_MODE_OUTPUT_PP;
  GPIO_InitStruct.Pull = GPIO_NOPULL;
  GPIO_InitStruct.Speed = GPIO_SPEED_FREQ_LOW;
  HAL_GPIO_Init(DC_motor_Dir2_GPIO_Port, &GPIO_InitStruct);

}

void task_gps(void *argument)
{
  /* USER CODE BEGIN 5 */

	gps_init(&huart1, hdma_usart1_rx.Instance);
	TickType_t xLastWakeTime;
	xLastWakeTime = xTaskGetTickCount();
	/* Infinite loop */

	for (;;) {

		GPS();

		vTaskDelayUntil(&xLastWakeTime, pdMS_TO_TICKS(XPERIOD));
	}
  /* USER CODE END 5 */
}

void task_dcmotor(void *argument)
{
  /* USER CODE BEGIN task_dcmotor */
	TickType_t xLastWakeTime;
	xLastWakeTime = xTaskGetTickCount();
	/* Infinite loop */
	for (;;) {

		motor();

		vTaskDelayUntil(&xLastWakeTime, XPERIOD);
	}
  /* USER CODE END task_dcmotor */
}

void task_mpu6050(void *argument)
{
  /* USER CODE BEGIN task_mpu6050 */
	TickType_t xLastWakeTime;
	xLastWakeTime = xTaskGetTickCount();

	/* Infinite loop */
	for (;;) {

		MPU6050();

		vTaskDelayUntil(&xLastWakeTime, XPERIOD);
	}
  /* USER CODE END task_mpu6050 */
}

/* USER CODE BEGIN Header_task_partcl_Exec */
/**
 * @brief Function implementing the taskParTCL_Exec thread.
 * @param argument: Not used* @retval None
 */
/* USER CODE END Header_task_partcl_Exec */
void task_partcl_Exec(void *argument)
{
  /* USER CODE BEGIN task_partcl_Exec */
	TickType_t xLastWakeTime;
	xLastWakeTime = xTaskGetTickCount();
	/* Infinite loop */
	for (;;) {
		partcl_execute();

		vTaskDelayUntil(&xLastWakeTime, XPERIOD);
	}
  /* USER CODE END task_partcl_Exec */
}

void task_image(void *argument)
{
  /* USER CODE BEGIN task_image */
	TickType_t xLastWakeTime;
	xLastWakeTime = xTaskGetTickCount();

	/* Infinite loop */
	for (;;) {
		image(&hcam);

		vTaskDelayUntil(&xLastWakeTime, XPERIOD);
	}
  /* USER CODE END task_image */
}

void task_partcl_hand(void *argument)
{
  /* USER CODE BEGIN task_partcl_hand */
	TickType_t xLastWakeTime;
	xLastWakeTime = xTaskGetTickCount();
	/* Infinite loop */
	for (;;) {

		partcl_readQueue();

		vTaskDelayUntil(&xLastWakeTime, XPERIOD);
	}
  /* USER CODE END task_partcl_hand */
}

 /**
  * @brief  Period elapsed callback in non blocking mode
  * @note   This function is called  when TIM7 interrupt took place, inside
  * HAL_TIM_IRQHandler(). It makes a direct call to HAL_IncTick() to increment
  * a global variable "uwTick" used as application time base.
  * @param  htim : TIM handle
  * @retval None
  */
void HAL_TIM_PeriodElapsedCallback(TIM_HandleTypeDef *htim)
{
  if (htim->Instance == TIM7) {
    HAL_IncTick();
  }
}

void Error_Handler(void)
{
	__disable_irq();
	while (1) {
	}
}

/************************ (C) COPYRIGHT STMicroelectronics *****END OF FILE****/
